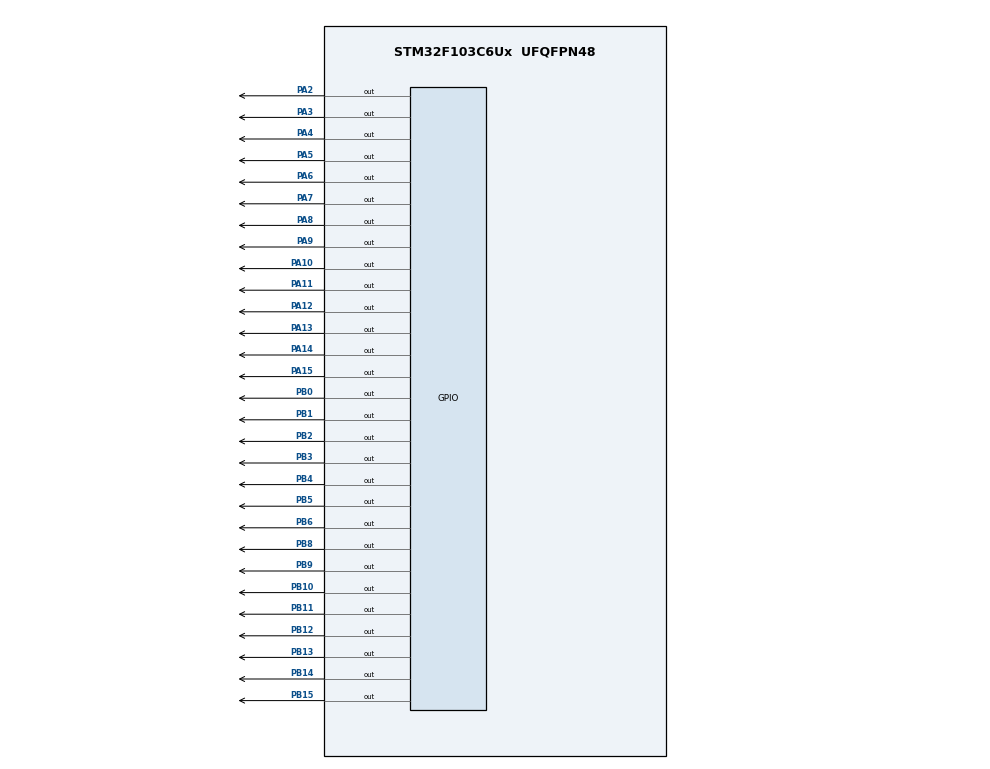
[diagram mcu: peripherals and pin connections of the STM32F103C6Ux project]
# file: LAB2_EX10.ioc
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Mcu.Family=STM32F1
Mcu.Name=STM32F103C6Ux
Mcu.Package=UFQFPN48
NVIC.PriorityGroup=NVIC_PRIORITYGROUP_4
NVIC.TIM2_IRQn=true\:0\:0\:false\:false\:true\:true\:true
PA10.Signal=GPIO_Output
PA11.Signal=GPIO_Output
PA12.Signal=GPIO_Output
PA13.Signal=GPIO_Output
PA14.Signal=GPIO_Output
PA15.Signal=GPIO_Output
PA2.Signal=GPIO_Output
PA3.Signal=GPIO_Output
PA4.Signal=GPIO_Output
PA5.Signal=GPIO_Output
PA6.Signal=GPIO_Output
PA7.Signal=GPIO_Output
PA8.Signal=GPIO_Output
PA9.Signal=GPIO_Output
PB0.Signal=GPIO_Output
PB1.Signal=GPIO_Output
PB10.Signal=GPIO_Output
PB11.Signal=GPIO_Output
PB12.Signal=GPIO_Output
PB13.Signal=GPIO_Output
PB14.Signal=GPIO_Output
PB15.Signal=GPIO_Output
PB2.Signal=GPIO_Output
PB3.Signal=GPIO_Output
PB4.Signal=GPIO_Output
PB5.Signal=GPIO_Output
PB6.Signal=GPIO_Output
PB8.Signal=GPIO_Output
PB9.Signal=GPIO_Output
ProjectManager.HeapSize=0x200
ProjectManager.StackSize=0x400
ProjectManager.TargetToolchain=STM32CubeIDE
RCC.APB1Freq_Value=8000000
RCC.APB2Freq_Value=8000000
TIM2.Period=9
TIM2.Prescaler=7999
VP_SYS_VS_ND.Mode=No_Debug
VP_TIM2_VS_ClockSourceINT.Mode=Internal
board=custom

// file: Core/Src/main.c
/* USER CODE BEGIN Header */
/**
  ******************************************************************************
  * @file           : main.c
  * @brief          : Main program body
  ******************************************************************************
  * @attention
  *
  * <h2><center>&copy; Copyright (c) 2025 STMicroelectronics.
  * All rights reserved.</center></h2>
  *
  * This software component is licensed by ST under BSD 3-Clause license,
  * the "License"; You may not use this file except in compliance with the
  * License. You may obtain a copy of the License at:
  *                        opensource.org/licenses/BSD-3-Clause
  *
  ******************************************************************************
  */
/* USER CODE END Header */
#include "main.h"

TIM_HandleTypeDef htim2;

void SystemClock_Config(void);
static void MX_GPIO_Init(void);
static void MX_TIM2_Init(void);

/* USER CODE BEGIN 0 */
volatile int tick10ms = 0;
volatile int index_led = 0;

const int MAX_LED = 4;
int led_buffer[4] = {0,0,0,0};
int hour = 15, minute = 8, second = 50;

const int MAX_LED_MATRIX = 8;
int index_led_matrix = 0;
uint8_t matrix_buffer[8] = {
  0x18,
  0x24,
  0x42,
  0x7E,
  0x42,
  0x42,
  0x42,
  0x00
};

int timer0_counter = 0;
int timer0_flag = 0;

int timer1_counter = 0;
int timer1_flag = 0;

int timer2_counter = 0;
int timer2_flag = 0;

int timer3_counter = 0;
int timer3_flag = 0;

int TIMER_CYCLE = 10;

void setTimer0(int duration){
    timer0_counter = duration / TIMER_CYCLE;
    timer0_flag = 0;
}

void setTimer1(int duration){
    timer1_counter = duration / TIMER_CYCLE;
    timer1_flag = 0;
}

void setTimer2(int duration){
    timer2_counter = duration / TIMER_CYCLE;
    timer2_flag = 0;
}

void setTimer3(int duration){
    timer3_counter = duration / TIMER_CYCLE;
    timer3_flag = 0;
}

void timer_run(){
    if(timer0_counter > 0){
        timer0_counter--;
        if(timer0_counter == 0) timer0_flag = 1;
    }

    if(timer1_counter > 0){
        timer1_counter--;
        if(timer1_counter == 0) timer1_flag = 1;
    }

    if(timer2_counter > 0){
        timer2_counter--;
        if(timer2_counter == 0) timer2_flag = 1;
    }

    if(timer3_counter > 0){
        timer3_counter--;
        if(timer3_counter == 0) timer3_flag = 1;
    }
}

void display7SEG(int num){
    HAL_GPIO_WritePin(GPIOB, 0x7F, GPIO_PIN_SET);

    switch(num){
        case 0: HAL_GPIO_WritePin(GPIOB, GPIO_PIN_0|GPIO_PIN_1|GPIO_PIN_2|GPIO_PIN_3|GPIO_PIN_4|GPIO_PIN_5, GPIO_PIN_RESET); break;
        case 1: HAL_GPIO_WritePin(GPIOB, GPIO_PIN_1|GPIO_PIN_2, GPIO_PIN_RESET); break;
        case 2: HAL_GPIO_WritePin(GPIOB, GPIO_PIN_0|GPIO_PIN_1|GPIO_PIN_3|GPIO_PIN_4|GPIO_PIN_6, GPIO_PIN_RESET); break;
        case 3: HAL_GPIO_WritePin(GPIOB, GPIO_PIN_0|GPIO_PIN_1|GPIO_PIN_2|GPIO_PIN_3|GPIO_PIN_6, GPIO_PIN_RESET); break;
        case 4: HAL_GPIO_WritePin(GPIOB, GPIO_PIN_1|GPIO_PIN_2|GPIO_PIN_5|GPIO_PIN_6, GPIO_PIN_RESET); break;
        case 5: HAL_GPIO_WritePin(GPIOB, GPIO_PIN_0|GPIO_PIN_2|GPIO_PIN_3|GPIO_PIN_5|GPIO_PIN_6, GPIO_PIN_RESET); break;
        case 6: HAL_GPIO_WritePin(GPIOB, GPIO_PIN_0|GPIO_PIN_2|GPIO_PIN_3|GPIO_PIN_4|GPIO_PIN_5|GPIO_PIN_6, GPIO_PIN_RESET); break;
        case 7: HAL_GPIO_WritePin(GPIOB, GPIO_PIN_0|GPIO_PIN_1|GPIO_PIN_2, GPIO_PIN_RESET); break;
        case 8: HAL_GPIO_WritePin(GPIOB, 0x7F, GPIO_PIN_RESET); break;
        case 9: HAL_GPIO_WritePin(GPIOB, GPIO_PIN_0|GPIO_PIN_1|GPIO_PIN_2|GPIO_PIN_3|GPIO_PIN_5|GPIO_PIN_6, GPIO_PIN_RESET); break;
    }
}

void updateLEDMatrix(int index){
    HAL_GPIO_WritePin(GPIOA, GPIO_PIN_2|GPIO_PIN_3|GPIO_PIN_10|GPIO_PIN_11|
                      GPIO_PIN_12|GPIO_PIN_13|GPIO_PIN_14|GPIO_PIN_15, GPIO_PIN_SET);

    GPIOB->ODR = (GPIOB->ODR & 0x00FF) | (~matrix_buffer[index] << 8);

    switch(index){
        case 0: HAL_GPIO_WritePin(GPIOA, GPIO_PIN_2, GPIO_PIN_RESET); break;
        case 1: HAL_GPIO_WritePin(GPIOA, GPIO_PIN_3, GPIO_PIN_RESET); break;
        case 2: HAL_GPIO_WritePin(GPIOA, GPIO_PIN_10, GPIO_PIN_RESET); break;
        case 3: HAL_GPIO_WritePin(GPIOA, GPIO_PIN_11, GPIO_PIN_RESET); break;
        case 4: HAL_GPIO_WritePin(GPIOA, GPIO_PIN_12, GPIO_PIN_RESET); break;
        case 5: HAL_GPIO_WritePin(GPIOA, GPIO_PIN_13, GPIO_PIN_RESET); break;
        case 6: HAL_GPIO_WritePin(GPIOA, GPIO_PIN_14, GPIO_PIN_RESET); break;
        case 7: HAL_GPIO_WritePin(GPIOA, GPIO_PIN_15, GPIO_PIN_RESET); break;
    }
}

void shiftMatrixLeft(){
//    for(int i = 0; i < MAX_LED_MATRIX; i++){
//        uint8_t msb = (matrix_buffer[i] & 0x80) >> 7;
//        matrix_buffer[i] = ((matrix_buffer[i] << 1) | msb);
//    }
    for(int i = 0; i < MAX_LED_MATRIX; i++){
        matrix_buffer[i] <<= 1;
    }

    int all_off = 1;
    for(int i = 0; i < MAX_LED_MATRIX; i++){
        if(matrix_buffer[i] != 0){
            all_off = 0;
            break;
        }
    }

    if(all_off){
        uint8_t A_pattern[8] = {
            0x18,
            0x24,
            0x42,
            0x7E,
            0x42,
            0x42,
            0x42,
            0x00
        };
        for(int i = 0; i < MAX_LED_MATRIX; i++){
            matrix_buffer[i] = A_pattern[i];
        }
    }
}

void disableAllDigits(void){
    HAL_GPIO_WritePin(GPIOA, GPIO_PIN_6|GPIO_PIN_7|GPIO_PIN_8|GPIO_PIN_9, GPIO_PIN_SET);
}

void enableDigit(int idx){
    switch(idx){
        case 0: HAL_GPIO_WritePin(GPIOA, GPIO_PIN_6, GPIO_PIN_RESET); break;
        case 1: HAL_GPIO_WritePin(GPIOA, GPIO_PIN_7, GPIO_PIN_RESET); break;
        case 2: HAL_GPIO_WritePin(GPIOA, GPIO_PIN_8, GPIO_PIN_RESET); break;
        case 3: HAL_GPIO_WritePin(GPIOA, GPIO_PIN_9, GPIO_PIN_RESET); break;
    }
}

void update7SEG(int index){
    disableAllDigits();
    display7SEG(led_buffer[index]);
    enableDigit(index);
}

void updateClockBuffer(){
    led_buffer[0] = hour / 10;
    led_buffer[1] = hour % 10;
    led_buffer[2] = minute / 10;
    led_buffer[3] = minute % 10;
}

/* USER CODE END 0 */

int main(void)
{

  /* MCU Configuration--------------------------------------------------------*/

  /* Reset of all peripherals, Initializes the Flash interface and the Systick. */
  HAL_Init();

  /* Configure the system clock */
  SystemClock_Config();

  /* Initialize all configured peripherals */
  MX_GPIO_Init();
  MX_TIM2_Init();
  /* USER CODE BEGIN 2 */
  HAL_TIM_Base_Start_IT(&htim2);
  /* USER CODE END 2 */

  /* Infinite loop */
  /* USER CODE BEGIN WHILE */

  updateClockBuffer();
  setTimer0(1000);
  setTimer1(250);
  setTimer2(10);
  setTimer3(200);
  while (1)
  {
	    if(timer2_flag == 1){
	        updateLEDMatrix(index_led_matrix);
	        index_led_matrix++;
	        if(index_led_matrix >= MAX_LED_MATRIX) index_led_matrix = 0;
	        setTimer2(10);
	    }

	    if(timer1_flag == 1){
	        timer1_flag = 0;
	        setTimer1(250);
	        update7SEG(index_led);
	        index_led++;
	        if(index_led >= MAX_LED) index_led = 0;
	    }

	    if(timer0_flag == 1){
	        timer0_flag = 0;
	        second++;
	        if(second >= 60){ second = 0; minute++; }
	        if(minute >= 60){ minute = 0; hour++; }
	        if(hour >= 24){ hour = 0; }
	        updateClockBuffer();
	        setTimer0(1000);
	        HAL_GPIO_TogglePin(GPIOA, GPIO_PIN_4);
	        HAL_GPIO_TogglePin(GPIOA, GPIO_PIN_5);
	    }
	    if(timer3_flag){
	        timer3_flag = 0;
	        shiftMatrixLeft();
	        setTimer3(200);
	    }
    /* USER CODE END WHILE */

  }
}

void SystemClock_Config(void)
{
  RCC_OscInitTypeDef RCC_OscInitStruct = {0};
  RCC_ClkInitTypeDef RCC_ClkInitStruct = {0};

  /** Initializes the RCC Oscillators according to the specified parameters
  * in the RCC_OscInitTypeDef structure.
  */
  RCC_OscInitStruct.OscillatorType = RCC_OSCILLATORTYPE_HSI;
  RCC_OscInitStruct.HSIState = RCC_HSI_ON;
  RCC_OscInitStruct.HSICalibrationValue = RCC_HSICALIBRATION_DEFAULT;
  RCC_OscInitStruct.PLL.PLLState = RCC_PLL_NONE;
  if (HAL_RCC_OscConfig(&RCC_OscInitStruct) != HAL_OK)
  {
    Error_Handler();
  }
  /** Initializes the CPU, AHB and APB buses clocks
  */
  RCC_ClkInitStruct.ClockType = RCC_CLOCKTYPE_HCLK|RCC_CLOCKTYPE_SYSCLK
                              |RCC_CLOCKTYPE_PCLK1|RCC_CLOCKTYPE_PCLK2;
  RCC_ClkInitStruct.SYSCLKSource = RCC_SYSCLKSOURCE_HSI;
  RCC_ClkInitStruct.AHBCLKDivider = RCC_SYSCLK_DIV1;
  RCC_ClkInitStruct.APB1CLKDivider = RCC_HCLK_DIV1;
  RCC_ClkInitStruct.APB2CLKDivider = RCC_HCLK_DIV1;

  if (HAL_RCC_ClockConfig(&RCC_ClkInitStruct, FLASH_LATENCY_0) != HAL_OK)
  {
    Error_Handler();
  }
}

static void MX_TIM2_Init(void)
{

  TIM_ClockConfigTypeDef sClockSourceConfig = {0};
  TIM_MasterConfigTypeDef sMasterConfig = {0};

  htim2.Instance = TIM2;
  htim2.Init.Prescaler = 7999;
  htim2.Init.CounterMode = TIM_COUNTERMODE_UP;
  htim2.Init.Period = 9;
  htim2.Init.ClockDivision = TIM_CLOCKDIVISION_DIV1;
  htim2.Init.AutoReloadPreload = TIM_AUTORELOAD_PRELOAD_DISABLE;
  if (HAL_TIM_Base_Init(&htim2) != HAL_OK)
  {
    Error_Handler();
  }
  sClockSourceConfig.ClockSource = TIM_CLOCKSOURCE_INTERNAL;
  if (HAL_TIM_ConfigClockSource(&htim2, &sClockSourceConfig) != HAL_OK)
  {
    Error_Handler();
  }
  sMasterConfig.MasterOutputTrigger = TIM_TRGO_RESET;
  sMasterConfig.MasterSlaveMode = TIM_MASTERSLAVEMODE_DISABLE;
  if (HAL_TIMEx_MasterConfigSynchronization(&htim2, &sMasterConfig) != HAL_OK)
  {
    Error_Handler();
  }

}

static void MX_GPIO_Init(void)
{
  GPIO_InitTypeDef GPIO_InitStruct = {0};

  /* GPIO Ports Clock Enable */
  __HAL_RCC_GPIOA_CLK_ENABLE();
  __HAL_RCC_GPIOB_CLK_ENABLE();

  /*Configure GPIO pin Output Level */
  HAL_GPIO_WritePin(GPIOA, GPIO_PIN_2|GPIO_PIN_3|GPIO_PIN_4|GPIO_PIN_5
                          |GPIO_PIN_6|GPIO_PIN_7|GPIO_PIN_8|GPIO_PIN_9
                          |GPIO_PIN_10|GPIO_PIN_11|GPIO_PIN_12|GPIO_PIN_13
                          |GPIO_PIN_14|GPIO_PIN_15, GPIO_PIN_RESET);

  /*Configure GPIO pin Output Level */
  HAL_GPIO_WritePin(GPIOB, GPIO_PIN_0|GPIO_PIN_1|GPIO_PIN_2|GPIO_PIN_10
                          |GPIO_PIN_11|GPIO_PIN_12|GPIO_PIN_13|GPIO_PIN_14
                          |GPIO_PIN_15|GPIO_PIN_3|GPIO_PIN_4|GPIO_PIN_5
                          |GPIO_PIN_6|GPIO_PIN_8|GPIO_PIN_9, GPIO_PIN_RESET);

  /*Configure GPIO pins : PA2 PA3 PA4 PA5
                           PA6 PA7 PA8 PA9
                           PA10 PA11 PA12 PA13
                           PA14 PA15 */
  GPIO_InitStruct.Pin = GPIO_PIN_2|GPIO_PIN_3|GPIO_PIN_4|GPIO_PIN_5
                          |GPIO_PIN_6|GPIO_PIN_7|GPIO_PIN_8|GPIO_PIN_9
                          |GPIO_PIN_10|GPIO_PIN_11|GPIO_PIN_12|GPIO_PIN_13
                          |GPIO_PIN_14|GPIO_PIN_15;
  GPIO_InitStruct.Mode = GPIO_MODE_OUTPUT_PP;
  GPIO_InitStruct.Pull = GPIO_NOPULL;
  GPIO_InitStruct.Speed = GPIO_SPEED_FREQ_LOW;
  HAL_GPIO_Init(GPIOA, &GPIO_InitStruct);

  /*Configure GPIO pins : PB0 PB1 PB2 PB10
                           PB11 PB12 PB13 PB14
                           PB15 PB3 PB4 PB5
                           PB6 PB8 PB9 */
  GPIO_InitStruct.Pin = GPIO_PIN_0|GPIO_PIN_1|GPIO_PIN_2|GPIO_PIN_10
                          |GPIO_PIN_11|GPIO_PIN_12|GPIO_PIN_13|GPIO_PIN_14
                          |GPIO_PIN_15|GPIO_PIN_3|GPIO_PIN_4|GPIO_PIN_5
                          |GPIO_PIN_6|GPIO_PIN_8|GPIO_PIN_9;
  GPIO_InitStruct.Mode = GPIO_MODE_OUTPUT_PP;
  GPIO_InitStruct.Pull = GPIO_NOPULL;
  GPIO_InitStruct.Speed = GPIO_SPEED_FREQ_LOW;
  HAL_GPIO_Init(GPIOB, &GPIO_InitStruct);

}

/* USER CODE BEGIN 4 */
void HAL_TIM_PeriodElapsedCallback(TIM_HandleTypeDef *htim){
    if(htim->Instance == TIM2){
        timer_run();
    }
}
/* USER CODE END 4 */

void Error_Handler(void)
{
  __disable_irq();
  while (1)
  {
  }
}

/************************ (C) COPYRIGHT STMicroelectronics *****END OF FILE****/
